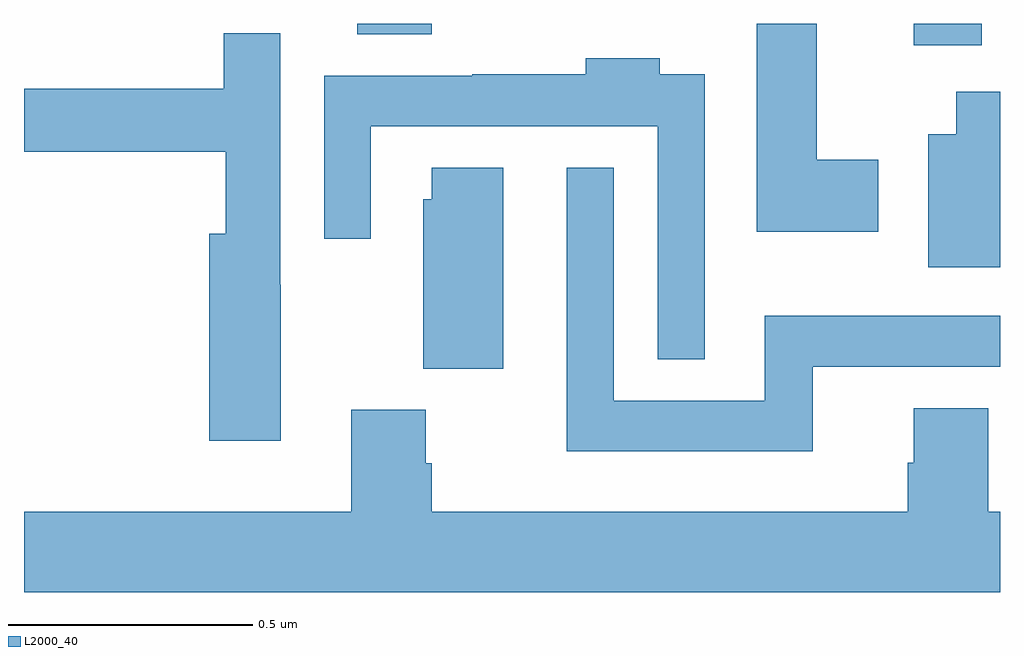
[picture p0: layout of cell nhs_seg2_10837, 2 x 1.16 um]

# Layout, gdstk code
import gdstk
lib = gdstk.Library(unit=1e-6, precision=1e-09)
def R(c, l, rs):  # rectangles x0, y0, x1, y1
    for r in rs: c.add(gdstk.rectangle(r[:2], r[2:], *l))
def P(c, l, *ps):  # polygons
    for p in ps: c.add(gdstk.Polygon(p, *l))
L2000_40 = (2000, 40)

nhs_seg2_10837 = lib.new_cell('nhs_seg2_10837')
R(nhs_seg2_10837, L2000_40, [(247.823,648.756,247.963,648.8), (246.683,648.779,246.836,648.8)])
P(nhs_seg2_10837, L2000_40, [(247.75,648.522),(247.624,648.522),(247.624,648.8),(247.502,648.8),(247.502,648.374),(247.75,648.374)],
  [(246.526,648.266),(246.525,648.266),(246.525,648.781),(246.409,648.781),(246.409,648.667),(246,648.667),(246,648.538),(246.413,648.538),(246.413,648.37),(246.38,648.37),(246.38,647.946),(246.526,647.946)],
  [(247.395,648.697),(247.303,648.697),(247.303,648.73),(247.151,648.73),(247.151,648.697),(246.919,648.697),(246.919,648.694),(246.615,648.694),(246.615,648.36),(246.711,648.36),(246.711,648.59),(247.299,648.59),(247.299,648.113),(247.395,648.113)],
  [(248,648.661),(247.91,648.661),(247.91,648.574),(247.853,648.574),(247.853,648.302),(248,648.302)],
  [(247.616,648.098),(248,648.098),(248,648.202),(247.518,648.202),(247.518,648.028),(247.209,648.028),(247.209,648.505),(247.112,648.505),(247.112,647.924),(247.616,647.924)],
  [(246.982,648.505),(246.836,648.505),(246.836,648.441),(246.818,648.441),(246.818,648.094),(246.982,648.094)],
  [(248,647.8),(247.976,647.8),(247.976,648.013),(247.823,648.013),(247.823,647.901),(247.811,647.901),(247.811,647.8),(246.836,647.8),(246.836,647.9),(246.823,647.9),(246.823,648.009),(246.671,648.009),(246.671,647.8),(246,647.8),(246,647.636),(248,647.636)])

lib.write_gds('nhs_seg2_10837.gds')
